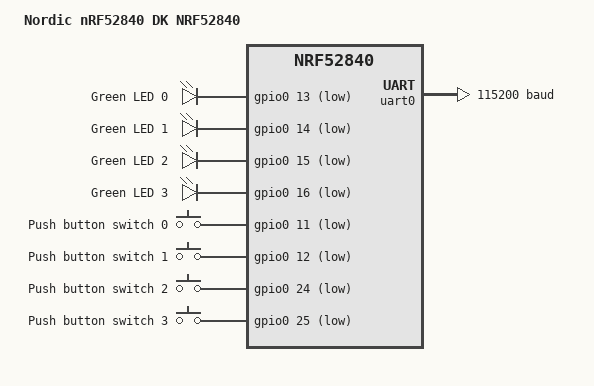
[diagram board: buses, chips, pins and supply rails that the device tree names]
/*
 * Copyright (c) 2017 Linaro Limited
 *
 * SPDX-License-Identifier: Apache-2.0
 */

/dts-v1/;
#include <nordic/nrf52810_qfaa.dtsi>
#include <nordic/nrf52840_partition.dtsi>
#include "custom_plank-pinctrl.dtsi"
#include <zephyr/dt-bindings/input/input-event-codes.h>

/ {
	model = "Nordic nRF52840 DK NRF52840";
	compatible = "nordic,nrf52840-dk-nrf52840";

	chosen {
		zephyr,console = &uart0;
		zephyr,shell-uart = &uart0;
		zephyr,uart-mcumgr = &uart0;
		zephyr,bt-mon-uart = &uart0;
		zephyr,bt-c2h-uart = &uart0;
	};

	leds {
		compatible = "gpio-leds";
		led0: led_0 {
			gpios = <&gpio0 13 GPIO_ACTIVE_LOW>;
			label = "Green LED 0";
		};
		led1: led_1 {
			gpios = <&gpio0 14 GPIO_ACTIVE_LOW>;
			label = "Green LED 1";
		};
		led2: led_2 {
			gpios = <&gpio0 15 GPIO_ACTIVE_LOW>;
			label = "Green LED 2";
		};
		led3: led_3 {
			gpios = <&gpio0 16 GPIO_ACTIVE_LOW>;
			label = "Green LED 3";
		};
	};

	buttons {
		compatible = "gpio-keys";
		button0: button_0 {
			gpios = <&gpio0 11 (GPIO_PULL_UP | GPIO_ACTIVE_LOW)>;
			label = "Push button switch 0";
			zephyr,code = <INPUT_KEY_0>;
		};
		button1: button_1 {
			gpios = <&gpio0 12 (GPIO_PULL_UP | GPIO_ACTIVE_LOW)>;
			label = "Push button switch 1";
			zephyr,code = <INPUT_KEY_1>;
		};
		button2: button_2 {
			gpios = <&gpio0 24 (GPIO_PULL_UP | GPIO_ACTIVE_LOW)>;
			label = "Push button switch 2";
			zephyr,code = <INPUT_KEY_2>;
		};
		button3: button_3 {
			gpios = <&gpio0 25 (GPIO_PULL_UP | GPIO_ACTIVE_LOW)>;
			label = "Push button switch 3";
			zephyr,code = <INPUT_KEY_3>;
		};
	};



	/* These aliases are provided for compatibility with samples */
	aliases {
		led0 = &led0;
		led1 = &led1;
		led2 = &led2;
		led3 = &led3;
		sw0 = &button0;
		sw1 = &button1;
		sw2 = &button2;
		sw3 = &button3;
	};
};

&uicr {
	gpio-as-nreset;
};

&gpiote {
	status = "okay";
};

&gpio0 {
	status = "okay";
};


&uart0 {
	compatible = "nordic,nrf-uarte";
	status = "okay";
	current-speed = <115200>;
	pinctrl-0 = <&uart0_default>;
	pinctrl-1 = <&uart0_sleep>;
	pinctrl-names = "default", "sleep";
};

&spi0 {
	compatible = "nordic,nrf-spi";
	/* Cannot be used together with i2c0. */
	/* status = "okay"; */
	pinctrl-0 = <&spi0_default>;
	pinctrl-1 = <&spi0_sleep>;
	pinctrl-names = "default", "sleep";
};

